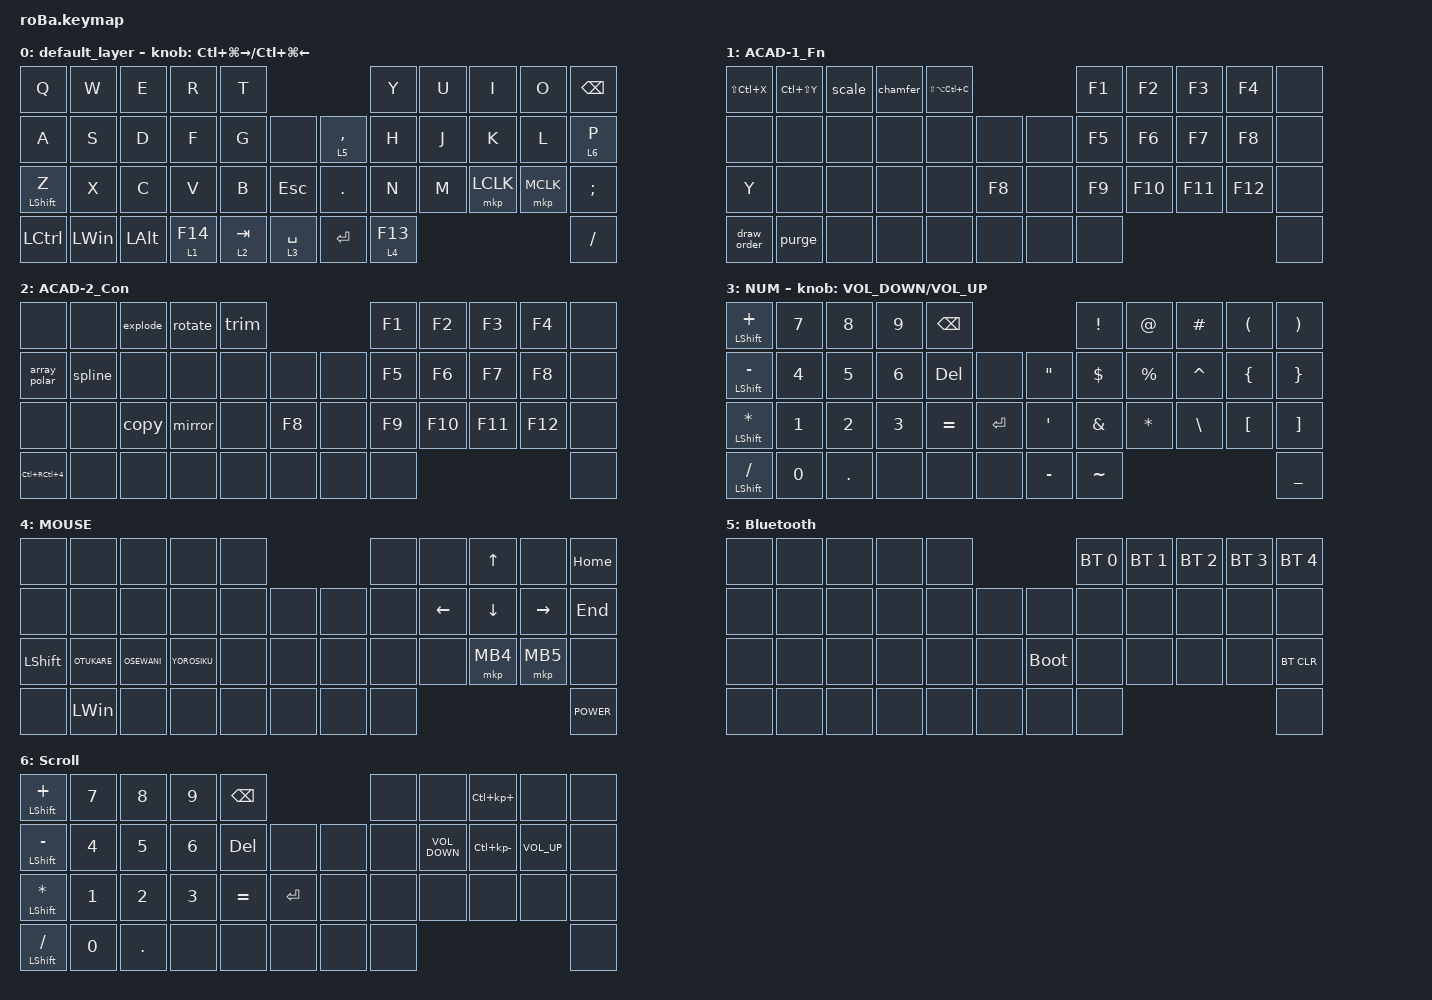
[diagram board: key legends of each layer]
#include <input/processors.dtsi>
#include <dt-bindings/zmk/input_transform.h>
#include <behaviors.dtsi>
#include <dt-bindings/zmk/bt.h>
#include <dt-bindings/zmk/keys.h>
#include <dt-bindings/zmk/pointing.h>

&mt {
    flavor = "balanced";
    quick-tap-ms = <0>;
};

/ {
    trackball_listener {
        compatible = "zmk,input-listener";
        status = "okay";
        device = <&trackball>;

        // 修正: 2つの計算を1つに統合して、マイコンの計算負荷を半減させます

        input-processors = <&zip_xy_transform (INPUT_TRANSFORM_XY_SWAP | INPUT_TRANSFORM_Y_INVERT)>;

        scroll {
            layers = <6>;
            input-processors =
                <&zip_xy_transform INPUT_TRANSFORM_XY_SWAP>,
                <&zip_xy_to_scroll_mapper>,
                <&zip_scroll_scaler 1 40>;
        };
    };

    combos {
        compatible = "zmk,combos";

        DELcom {
            bindings = <&kp DEL>;
            key-positions = <9 8>;
        };

        RCLK {
            bindings = <&mkp RCLK>;
            key-positions = <32 31>;
        };

        CTRL_Y {
            bindings = <&kp Y>;
            key-positions = <22 23>;
        };

        CAP_SLOCK {
            bindings = <&kp CAPSLOCK>;
            key-positions = <37 38>;
        };
    };

    macros {
        scale: scale {
            compatible = "zmk,behavior-macro";
            #binding-cells = <0>;
            bindings = <&kp S &kp C &kp A &kp L &kp E &kp RET>;
        };

        chamfer: chamfer {
            compatible = "zmk,behavior-macro";
            #binding-cells = <0>;
            bindings = <&kp C &kp H &kp A &kp M &kp F &kp E &kp R &kp RET>;
        };

        rotate: rotate {
            compatible = "zmk,behavior-macro";
            #binding-cells = <0>;
            bindings = <&kp R &kp O &kp T &kp A &kp T &kp E &kp RET>;
        };

        trim: trim {
            compatible = "zmk,behavior-macro";
            #binding-cells = <0>;
            bindings = <&kp T &kp R &kp I &kp M &kp RET>;
        };

        mirror: mirror {
            compatible = "zmk,behavior-macro";
            #binding-cells = <0>;
            bindings = <&kp M &kp I &kp R &kp R &kp O &kp R &kp RET>;
        };

        array_polar: arraypolar {
            compatible = "zmk,behavior-macro";
            #binding-cells = <0>;
            bindings = <&kp A &kp R &kp R &kp A &kp Y &kp P &kp O &kp L &kp A &kp R &kp RET>;
        };

        draw_order: draw_order {
            compatible = "zmk,behavior-macro";
            #binding-cells = <0>;
            bindings = <&kp D &kp R &kp A &kp W &kp O &kp R &kp D &kp E &kp R &kp ENTER>;
        };

        purge: purge {
            compatible = "zmk,behavior-macro";
            #binding-cells = <0>;
            bindings = <&kp P &kp U &kp R &kp G &kp E &kp RET>;
        };

        copy: copy {
            compatible = "zmk,behavior-macro";
            #binding-cells = <0>;
            bindings = <&kp C &kp O &kp P &kp Y &kp RET>;
        };

        explode: explode {
            compatible = "zmk,behavior-macro";
            #binding-cells = <0>;
            bindings = <&kp E &kp X &kp P &kp L &kp O &kp D &kp E &kp RET>;
        };

        spline: spline {
            compatible = "zmk,behavior-macro";
            #binding-cells = <0>;
            bindings = <&kp S &kp P &kp L &kp I &kp N &kp E &kp RET>;
        };

        OSEWANI: OSEWANI {
            compatible = "zmk,behavior-macro";
            #binding-cells = <0>;
            wait-ms = <5>;
            tap-ms = <5>;
            bindings = <&kp F13 &kp O &kp S &kp E &kp W &kp A &kp N &kp I &kp N &kp A &kp T &kp T &kp E &kp O &kp R &kp I &kp M &kp A &kp S &kp U &kp DOT &kp SPACE &kp RET>;
            label = "OSEWANI";
        };

        OTUKARE: OTUKARE {
            compatible = "zmk,behavior-macro";
            #binding-cells = <0>;
            wait-ms = <5>;
            tap-ms = <5>;
            bindings = <&kp F13 &kp O &kp T &kp U &kp K &kp A &kp R &kp E &kp S &kp A &kp M &kp A &kp D &kp E &kp S &kp U &kp DOT &kp SPACE &kp RET>;
            label = "OTUKARE";
        };

        YOROSIKU: YOROSIKU {
            compatible = "zmk,behavior-macro";
            #binding-cells = <0>;
            wait-ms = <5>;
            tap-ms = <5>;
            bindings = <&kp F13 &kp D &kp O &kp U &kp Z &kp O &kp Y &kp O &kp R &kp O &kp S &kp I &kp K &kp U &kp O &kp N &kp E &kp G &kp A &kp I &kp I &kp T &kp A &kp S &kp I &kp M &kp A &kp S &kp U &kp DOT &kp SPACE &kp RET>;
            label = "YOROSIKU";
        };
    };

    keymap {
        compatible = "zmk,keymap";

        default_layer {
            bindings = <
&kp Q             &kp W         &kp E         &kp R      &kp T                                    &kp Y      &kp U  &kp I      &kp O      &kp BACKSPACE
&kp A             &kp S         &kp D         &kp F      &kp G      &none            &lt 5 COMMA  &kp H      &kp J  &kp K      &kp L      &lt 6 P
&mt LEFT_SHIFT Z  &kp X         &kp C         &kp V      &kp B      &kp ESC          &kp PERIOD   &kp N      &kp M  &mkp LCLK  &mkp MCLK  &kp SEMI
&kp LCTRL         &kp LEFT_WIN  &kp LEFT_ALT  &lt 1 F14  &lt 2 TAB  &lt 3 SPACE      &kp ENTER    &lt 4 F13                               &kp SLASH
            >;

            sensor-bindings = <&inc_dec_kp LC(LG(RIGHT_ARROW)) LC(LG(LEFT_ARROW))>;
        };

        ACAD-1_Fn {
            bindings = <
&kp LS(LC(X))  &kp LC(LS(Y))  &scale  &chamfer  &kp LS(LA(LC(C)))                     &kp F1  &kp F2   &kp F3   &kp F4   &none
&none          &none          &none   &none     &none              &none       &none  &kp F5  &kp F6   &kp F7   &kp F8   &none
&kp Y          &none          &none   &none     &none              &kp F8      &none  &kp F9  &kp F10  &kp F11  &kp F12  &none
&draw_order    &purge         &none   &none     &none              &none       &none  &none                              &none
            >;
        };

        ACAD-2_Con {
            bindings = <
&none                 &none    &explode  &rotate  &trim                     &kp F1  &kp F2   &kp F3   &kp F4   &none
&array_polar          &spline  &none     &none    &none  &none       &none  &kp F5  &kp F6   &kp F7   &kp F8   &none
&none                 &none    &copy     &mirror  &none  &kp F8      &none  &kp F9  &kp F10  &kp F11  &kp F12  &none
&kp LC(RC(NUMBER_4))  &none    &none     &none    &none  &none       &none  &none                              &none
            >;
        };

        NUM {
            bindings = <
&mt LSHFT PLUS   &kp N7        &kp N8        &kp N9        &kp BACKSPACE                                    &kp EXCLAMATION  &kp AT_SIGN   &kp HASH       &kp LEFT_PARENTHESIS  &kp RIGHT_PARENTHESIS
&mt LSHFT MINUS  &kp NUMBER_4  &kp N5        &kp NUMBER_6  &kp DELETE     &none          &kp DOUBLE_QUOTES  &kp DOLLAR       &kp PERCENT   &kp CARET      &kp LEFT_BRACE        &kp RIGHT_BRACE
&mt LSHFT ASTRK  &kp NUMBER_1  &kp NUMBER_2  &kp NUMBER_3  &kp EQUAL      &kp ENTER      &kp SQT            &kp AMPERSAND    &kp ASTERISK  &kp BACKSLASH  &kp LEFT_BRACKET      &kp RIGHT_BRACKET
&mt LSHFT SLASH  &kp N0        &kp PERIOD    &none         &none          &none          &kp MINUS          &kp TILDE                                                           &kp UNDERSCORE
            >;

            sensor-bindings = <&inc_dec_kp C_VOLUME_DOWN C_VOL_UP>;
        };

        MOUSE {
            bindings = <
&none           &none         &none     &none      &none                    &none  &none           &kp UP_ARROW    &none      &kp HOME
&none           &none         &none     &none      &none  &none      &none  &none  &kp LEFT_ARROW  &kp DOWN_ARROW  &kp RIGHT  &kp END
&kp LEFT_SHIFT  &OTUKARE      &OSEWANI  &YOROSIKU  &none  &none      &none  &none  &none           &mkp MB4        &mkp MB5   &none
&none           &kp LEFT_WIN  &none     &none      &none  &none      &none  &none                                             &kp K_POWER
            >;
        };

        Bluetooth {
            bindings = <
&none  &none  &none  &none  &none                          &bt BT_SEL 0  &bt BT_SEL 1  &bt BT_SEL 2  &bt BT_SEL 3  &bt BT_SEL 4
&none  &none  &none  &none  &none  &none      &none        &none         &none         &none         &none         &none
&none  &none  &none  &none  &none  &none      &bootloader  &none         &none         &none         &none         &bt BT_CLR
&none  &none  &none  &none  &none  &none      &none        &none                                                   &none
            >;
        };

        Scroll {
            bindings = <
&mt LSHFT PLUS   &kp N7        &kp N8        &kp N9        &kp BACKSPACE                        &none  &none              &kp LC(KP_PLUS)      &none            &none
&mt LSHFT MINUS  &kp NUMBER_4  &kp N5        &kp NUMBER_6  &kp DELETE     &none          &none  &none  &kp C_VOLUME_DOWN  &kp LC(KP_SUBTRACT)  &kp C_VOLUME_UP  &none
&mt LSHFT ASTRK  &kp NUMBER_1  &kp NUMBER_2  &kp NUMBER_3  &kp EQUAL      &kp ENTER      &none  &none  &none              &none                &none            &none
&mt LSHFT SLASH  &kp N0        &kp PERIOD    &none         &none          &none          &none  &none                                                           &none
            >;
        };
    };
};
